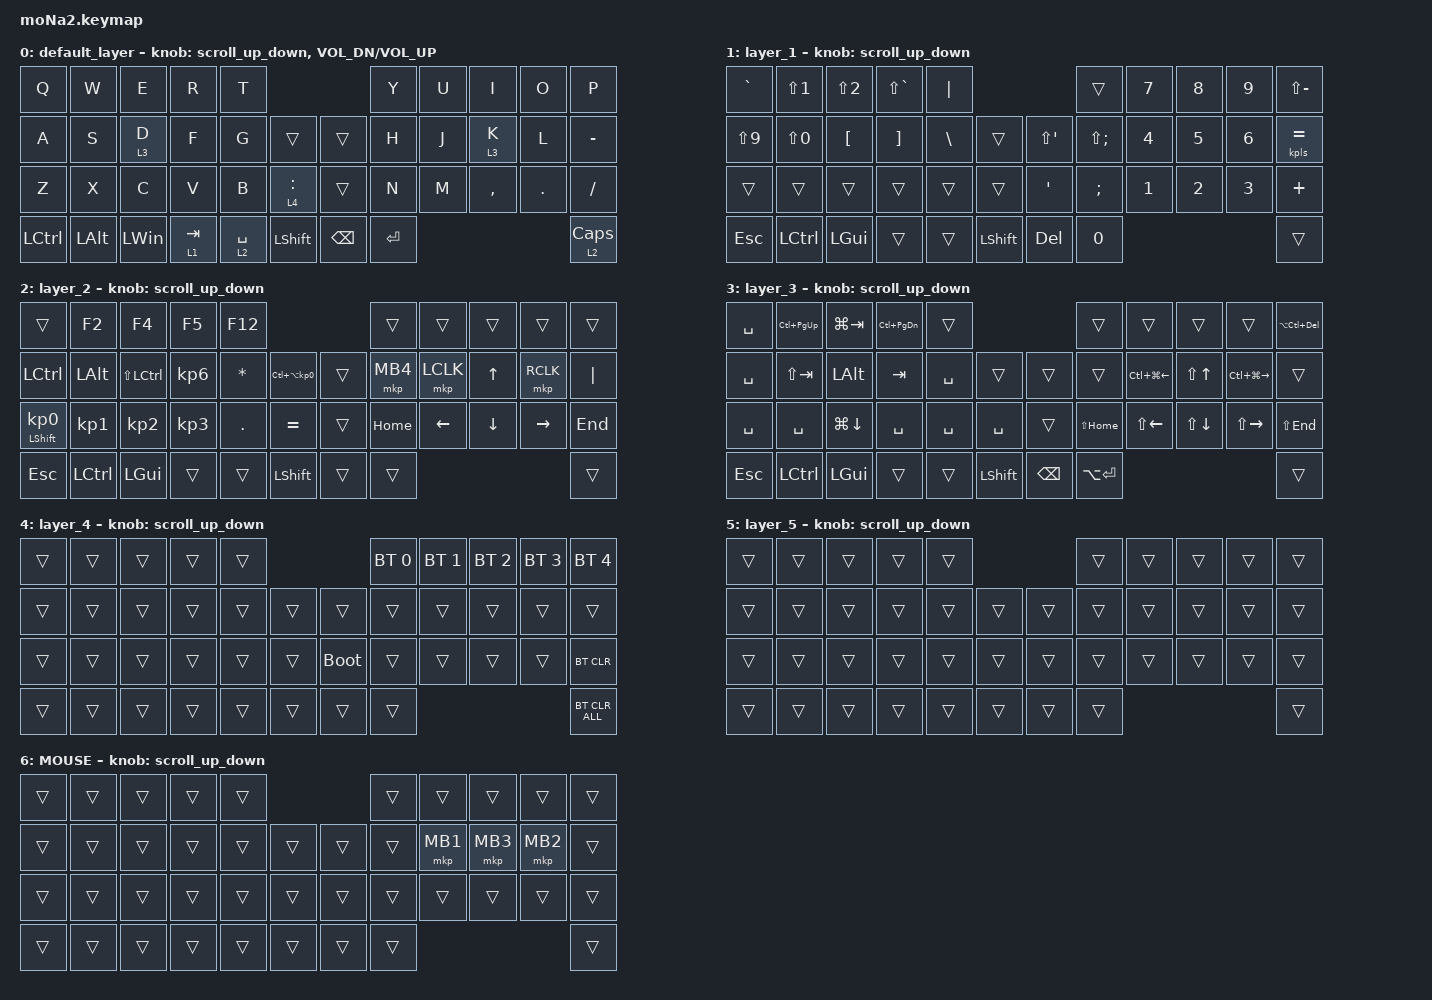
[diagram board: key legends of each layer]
#include <behaviors.dtsi>
#include <dt-bindings/zmk/bt.h>
#include <dt-bindings/zmk/keys.h>
#include <dt-bindings/zmk/pointing.h>
#include <layout_shift.dtsi>

#define ZMK_POINTING_DEFAULT_SCRL_VAL 100

/*#define MOUSE 6*/

#define SCROLL 2

&mt {
    flavor = "balanced";
    quick-tap-ms = <0>;
};

/ {
    combos { compatible = "zmk,combos"; };

    macros {
        to_layer_0: to_layer_0 {
            compatible = "zmk,behavior-macro-one-param";
            #binding-cells = <1>;
            bindings = <&to 0 &macro_param_1to1 &kp MACRO_PLACEHOLDER>;
            label = "TO_LAYER_0";
        };
    };

    behaviors {
        lt_to_layer_0: lt_to_layer_0 {
            compatible = "zmk,behavior-hold-tap";
            label = "LAYER_TAP_TO_0";
            bindings = <&mo>, <&to_layer_0>;

            #binding-cells = <2>;
            tapping-term-ms = <200>;
        };

        scroll_up_down: behavior_sensor_rotate_mouse_wheel_up_down {
            compatible = "zmk,behavior-sensor-rotate";
            #sensor-binding-cells = <0>;
            bindings = <&msc SCRL_UP>, <&msc SCRL_DOWN>;

            tap-ms = <20>;
        };
    };

    keymap {
        compatible = "zmk,keymap";

        default_layer {
            bindings = <
&kp Q      &kp W         &kp E         &kp R      &kp T                                         &kp Y      &kp U  &kp I      &kp O    &kp P
&kp A      &kp S         &lt 3 D       &kp F      &kp G        &trans            &trans         &kp H      &kp J  &lt 3 K    &kp L    &kp MINUS
&kp Z      &kp X         &kp C         &kp V      &kp B        &lt 4 COLON       &trans         &kp N      &kp M  &kp COMMA  &kp DOT  &kp SLASH
&kp LCTRL  &kp LEFT_ALT  &kp LEFT_WIN  &lt 1 TAB  &lt 2 SPACE  &kp LEFT_SHIFT    &kp BACKSPACE  &kp ENTER                             &lt 2 CAPSLOCK
            >;

            sensor-bindings =
                <&scroll_up_down>,
                <&inc_dec_kp C_VOL_DN C_VOL_UP>;
        };

        layer_1 {
            bindings = <
&kp GRAVE   &kp LS(NUMBER_1)  &kp LS(NUMBER_2)  &kp LS(GRAVE)  &kp PIPE                                      &trans             &kp N7        &kp N8        &kp N9        &kp LS(MINUS)
&kp LS(N9)  &kp LS(N0)        &kp LBKT          &kp RBKT       &kp BACKSLASH  &trans            &kp LS(SQT)  &kp LS(SEMICOLON)  &kp NUMBER_4  &kp N5        &kp NUMBER_6  &kpls EQUAL
&trans      &trans            &trans            &trans         &trans         &trans            &kp SQT      &kp SEMICOLON      &kp NUMBER_1  &kp NUMBER_2  &kp NUMBER_3  &kp PLUS
&kp ESCAPE  &kp LEFT_CONTROL  &kp LEFT_GUI      &trans         &trans         &kp LEFT_SHIFT    &kp DELETE   &kp N0                                                       &trans
            >;

            sensor-bindings = <&scroll_up_down>;
        };

        layer_2 {
            bindings = <
&trans                      &kp F2            &kp F4           &kp F5           &kp F12                                          &trans    &trans     &trans    &trans     &trans
&kp LCTRL                   &kp LALT          &kp LS(LCTRL)    &kp KP_NUMBER_6  &kp ASTERISK  &kp LC(LA(KP_NUMBER_0))    &trans  &mkp MB4  &mkp LCLK  &kp UP    &mkp RCLK  &kp PIPE
&mt LEFT_SHIFT KP_NUMBER_0  &kp KP_NUMBER_1   &kp KP_NUMBER_2  &kp KP_NUMBER_3  &kp PERIOD    &kp EQUAL                  &trans  &kp HOME  &kp LEFT   &kp DOWN  &kp RIGHT  &kp END
&kp ESC                     &kp LEFT_CONTROL  &kp LEFT_GUI     &trans           &trans        &kp LEFT_SHIFT             &trans  &trans                                    &trans
            >;

            sensor-bindings = <&scroll_up_down>;
        };

        layer_3 {
            bindings = <
&kp SPACE  &kp LC(PAGE_UP)  &kp LG(TAB)         &kp LC(PAGE_DOWN)  &trans                            &trans        &trans            &trans        &trans             &kp LA(LC(DELETE))
&kp SPACE  &kp LS(TAB)      &kp LEFT_ALT        &kp TAB            &kp SPACE  &trans       &trans    &trans        &kp LC(LG(LEFT))  &kp LS(UP)    &kp LC(LG(RIGHT))  &trans
&kp SPACE  &kp SPACE        &kp LG(DOWN_ARROW)  &kp SPACE          &kp SPACE  &kp SPACE    &trans    &kp LS(HOME)  &kp LS(LEFT)      &kp LS(DOWN)  &kp LS(RIGHT)      &kp LS(END)
&kp ESC    &kp LCTRL        &kp LGUI            &trans             &trans     &kp LSHFT    &kp BSPC  &kp LA(RET)                                                      &trans
            >;

            sensor-bindings = <&scroll_up_down>;
        };

        layer_4 {
            bindings = <
&trans  &trans  &trans  &trans  &trans                         &bt BT_SEL 0  &bt BT_SEL 1  &bt BT_SEL 2  &bt BT_SEL 3  &bt BT_SEL 4
&trans  &trans  &trans  &trans  &trans  &trans    &trans       &trans        &trans        &trans        &trans        &trans
&trans  &trans  &trans  &trans  &trans  &trans    &bootloader  &trans        &trans        &trans        &trans        &bt BT_CLR
&trans  &trans  &trans  &trans  &trans  &trans    &trans       &trans                                                  &bt BT_CLR_ALL
            >;

            sensor-bindings = <&scroll_up_down>;
        };

        layer_5 {
            bindings = <
&trans  &trans  &trans  &trans  &trans                    &trans  &trans  &trans  &trans  &trans
&trans  &trans  &trans  &trans  &trans  &trans    &trans  &trans  &trans  &trans  &trans  &trans
&trans  &trans  &trans  &trans  &trans  &trans    &trans  &trans  &trans  &trans  &trans  &trans
&trans  &trans  &trans  &trans  &trans  &trans    &trans  &trans                          &trans
            >;

            sensor-bindings = <&scroll_up_down>;
        };

        MOUSE {
            bindings = <
&trans  &trans  &trans  &trans  &trans                    &trans  &trans    &trans    &trans    &trans
&trans  &trans  &trans  &trans  &trans  &trans    &trans  &trans  &mkp MB1  &mkp MB3  &mkp MB2  &trans
&trans  &trans  &trans  &trans  &trans  &trans    &trans  &trans  &trans    &trans    &trans    &trans
&trans  &trans  &trans  &trans  &trans  &trans    &trans  &trans                                &trans
            >;

            sensor-bindings = <&scroll_up_down>;
        };
    };
};
